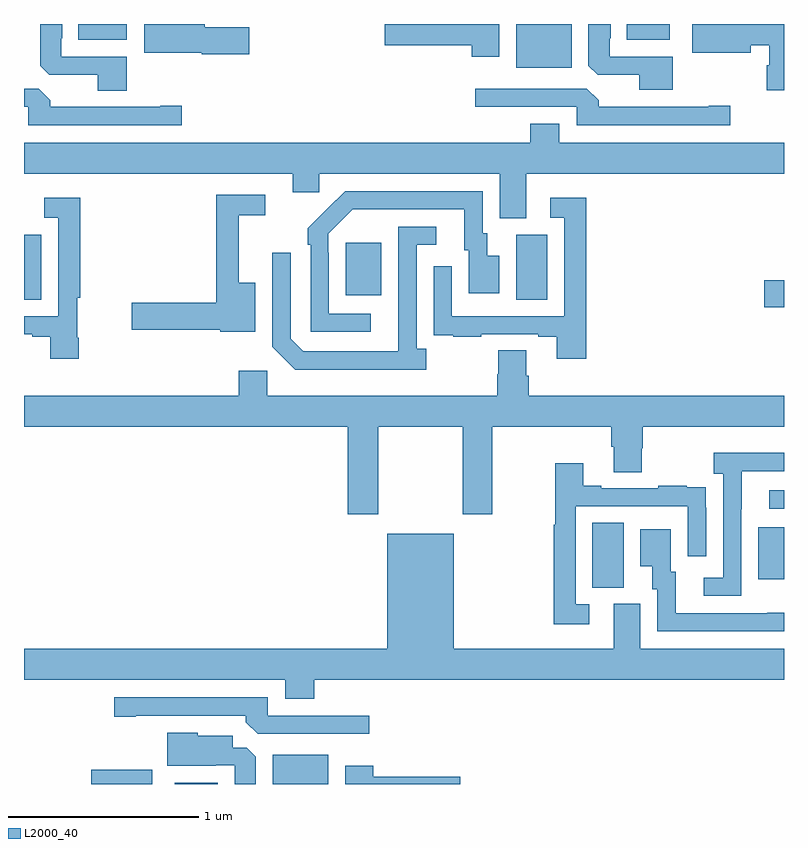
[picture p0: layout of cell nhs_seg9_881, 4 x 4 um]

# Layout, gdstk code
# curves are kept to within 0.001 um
import gdstk
lib = gdstk.Library(unit=1e-6, precision=1e-09)
def R(c, l, rs):  # rectangles x0, y0, x1, y1
    for r in rs: c.add(gdstk.rectangle(r[:2], r[2:], *l))
def P(c, l, *ps):  # polygons
    for p in ps: c.add(gdstk.Polygon(p, *l))
L2000_40 = (2000, 40)

nhs_seg9_881 = lib.new_cell('nhs_seg9_881')
R(nhs_seg9_881, L2000_40, [(157.355,1234.5,157.675,1234.576), (157.793,1234.5,158.02,1234.507), (158.309,1234.5,158.602,1234.654), (159.992,1235.533,160.156,1235.876), (160.865,1235.577,161,1235.851), (160.923,1235.949,161,1236.045), (160.896,1237.009,161,1237.151), (157,1237.048,157.09,1237.392), (159.59,1237.048,159.754,1237.392), (158.693,1237.073,158.881,1237.348), (159.59,1238.27,159.883,1238.5), (157.286,1238.417,157.54,1238.5), (160.172,1238.417,160.399,1238.5)])
P(nhs_seg9_881, L2000_40, [(161,1238.5),(160.518,1238.5),(160.518,1238.348),(160.825,1238.348),(160.825,1238.387),(160.922,1238.387),(160.922,1238.283),(160.91,1238.283),(160.91,1238.151),(161,1238.151)],
  [(160.414,1238.328),(160.083,1238.328),(160.083,1238.425),(160.087,1238.425),(160.087,1238.5),(159.971,1238.5),(159.971,1238.281),(160.02,1238.232),(160.238,1238.232),(160.238,1238.153),(160.414,1238.153)],
  [(159.502,1238.5),(158.898,1238.5),(158.898,1238.387),(159.356,1238.387),(159.356,1238.328),(159.502,1238.328)],
  [(157.541,1238.328),(157.197,1238.328),(157.197,1238.425),(157.201,1238.425),(157.201,1238.5),(157.085,1238.5),(157.085,1238.281),(157.134,1238.232),(157.388,1238.232),(157.388,1238.149),(157.541,1238.149)],
  [(158.185,1238.483),(157.952,1238.483),(157.952,1238.5),(157.632,1238.5),(157.632,1238.348),(157.935,1238.348),(157.935,1238.341),(158.185,1238.341)],
  [(160.717,1238.069),(160.604,1238.069),(160.604,1238.064),(160.025,1238.064),(160.025,1238.098),(159.963,1238.16),(159.375,1238.16),(159.375,1238.064),(159.909,1238.064),(159.909,1237.968),(160.717,1237.968)],
  [(157.831,1238.069),(157.718,1238.069),(157.718,1238.064),(157.139,1238.064),(157.139,1238.098),(157.077,1238.16),(157,1238.16),(157,1238.064),(157.023,1238.064),(157.023,1237.968),(157.831,1237.968)],
  [(159.643,1237.712),(161,1237.712),(161,1237.876),(159.817,1237.876),(159.817,1237.975),(159.665,1237.975),(159.665,1237.876),(157,1237.876),(157,1237.712),(158.414,1237.712),(158.414,1237.614),(158.553,1237.614),(158.553,1237.712),(159.503,1237.712),(159.503,1237.477),(159.643,1237.477)],
  [(158.824,1236.975),(158.604,1236.975),(158.604,1237.295),(158.601,1237.295),(158.601,1237.395),(158.73,1237.524),(159.317,1237.524),(159.317,1237.308),(159.341,1237.308),(159.341,1237.083),(159.502,1237.083),(159.502,1237.279),(159.439,1237.279),(159.439,1237.398),(159.414,1237.398),(159.414,1237.62),(158.69,1237.62),(158.493,1237.425),(158.493,1237.337),(158.508,1237.337),(158.508,1236.879),(158.824,1236.879)],
  [(158.218,1237.138),(158.129,1237.138),(158.129,1237.494),(158.269,1237.494),(158.269,1237.602),(158.011,1237.602),(158.011,1237.034),(157.566,1237.034),(157.566,1236.892),(158.034,1236.892),(158.034,1236.881),(158.218,1236.881)],
  [(159.959,1237.585),(159.771,1237.585),(159.771,1237.479),(159.843,1237.479),(159.843,1236.963),(159.252,1236.963),(159.252,1237.225),(159.156,1237.225),(159.156,1236.97),(159.157,1236.97),(159.157,1236.861),(159.259,1236.861),(159.259,1236.855),(159.407,1236.855),(159.407,1236.867),(159.707,1236.867),(159.707,1236.855),(159.803,1236.855),(159.803,1236.738),(159.959,1236.738)],
  [(157.289,1236.85),(157.28,1236.85),(157.28,1237.06),(157.295,1237.06),(157.295,1237.585),(157.107,1237.585),(157.107,1237.479),(157.179,1237.479),(157.179,1236.963),(157,1236.963),(157,1236.867),(157.043,1236.867),(157.043,1236.855),(157.139,1236.855),(157.139,1236.738),(157.289,1236.738)],
  [(159.118,1236.79),(159.066,1236.79),(159.066,1237.338),(159.169,1237.338),(159.169,1237.434),(158.97,1237.434),(158.969,1236.777),(158.469,1236.777),(158.403,1236.843),(158.403,1237.297),(158.307,1237.297),(158.307,1236.801),(158.428,1236.68),(159.118,1236.68)],
  [(158.865,1236.38),(159.31,1236.38),(159.31,1235.919),(159.465,1235.919),(159.465,1236.38),(160.091,1236.38),(160.091,1236.274),(160.103,1236.274),(160.103,1236.142),(160.251,1236.142),(160.251,1236.267),(160.256,1236.267),(160.256,1236.38),(161,1236.38),(161,1236.544),(159.656,1236.544),(159.656,1236.65),(159.643,1236.65),(159.643,1236.782),(159.496,1236.782),(159.496,1236.657),(159.491,1236.657),(159.491,1236.544),(158.28,1236.544),(158.28,1236.676),(158.129,1236.676),(158.129,1236.544),(157,1236.544),(157,1236.38),(158.705,1236.38),(158.705,1235.919),(158.865,1235.919)],
  [(160.776,1235.947),(160.777,1235.947),(160.777,1236.147),(161,1236.147),(161,1236.244),(160.629,1236.244),(160.629,1236.134),(160.68,1236.134),(160.68,1235.586),(160.578,1235.586),(160.578,1235.49),(160.776,1235.49)],
  [(159.976,1235.445),(159.903,1235.445),(159.903,1235.961),(160.494,1235.961),(160.494,1235.7),(160.59,1235.7),(160.59,1235.954),(160.589,1235.954),(160.589,1236.063),(160.487,1236.063),(160.487,1236.07),(160.339,1236.07),(160.339,1236.057),(160.039,1236.057),(160.039,1236.07),(159.943,1236.07),(159.943,1236.187),(159.795,1236.187),(159.795,1235.864),(159.787,1235.864),(159.787,1235.34),(159.976,1235.34)],
  [(161,1235.401),(160.913,1235.401),(160.913,1235.4),(160.429,1235.4),(160.429,1235.616),(160.405,1235.616),(160.405,1235.842),(160.244,1235.842),(160.244,1235.645),(160.307,1235.645),(160.307,1235.526),(160.332,1235.526),(160.332,1235.304),(161,1235.304)],
  [(158.528,1235.048),(161,1235.048),(161,1235.212),(160.243,1235.212),(160.243,1235.448),(160.103,1235.448),(160.103,1235.212),(159.262,1235.212),(159.262,1235.818),(158.912,1235.818),(158.912,1235.212),(157,1235.212),(157,1235.048),(158.375,1235.048),(158.375,1234.949),(158.528,1234.949)],
  [(158.818,1234.86),(158.283,1234.86),(158.283,1234.956),(157.476,1234.956),(157.476,1234.855),(157.588,1234.855),(157.588,1234.86),(158.168,1234.86),(158.168,1234.826),(158.229,1234.764),(158.818,1234.764)],
  [(158.221,1234.643),(158.172,1234.692),(158.098,1234.692),(158.098,1234.753),(157.914,1234.753),(157.914,1234.771),(157.754,1234.771),(157.754,1234.595),(158.009,1234.595),(158.009,1234.599),(158.109,1234.599),(158.109,1234.5),(158.221,1234.5)],
  [(159.295,1234.538),(158.837,1234.538),(158.837,1234.597),(158.69,1234.597),(158.69,1234.5),(159.295,1234.5)])

lib.write_gds('nhs_seg9_881.gds')
